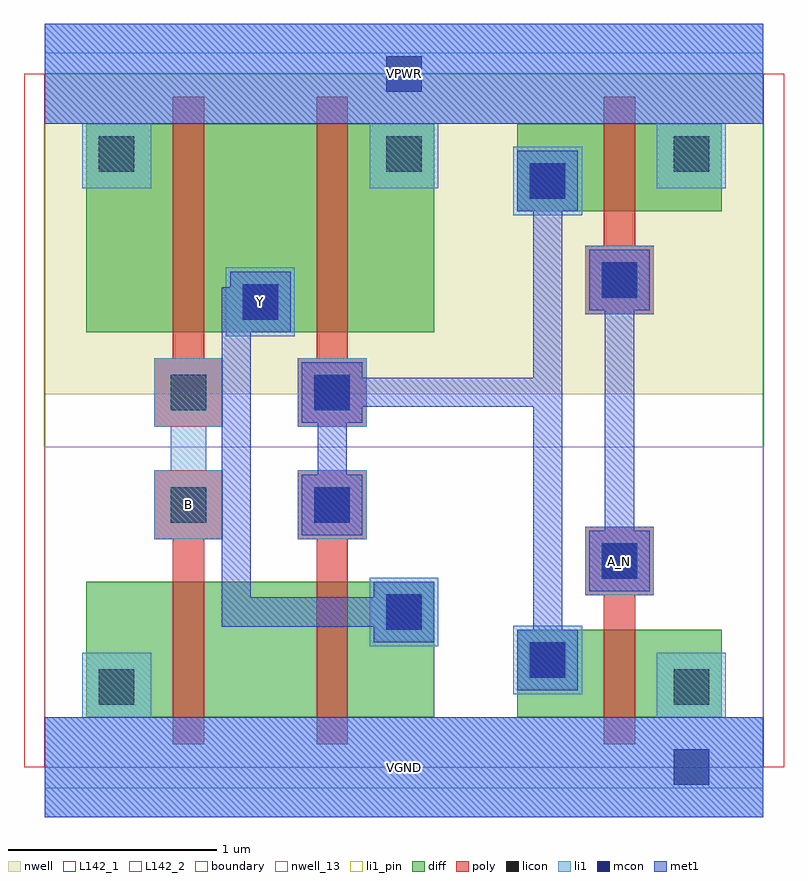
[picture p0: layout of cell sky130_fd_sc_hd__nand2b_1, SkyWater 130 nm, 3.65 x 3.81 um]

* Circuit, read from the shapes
.subckt sky130_fd_sc_hd__nand2b_1 A_N B VGND VPWR Y
XM1 n1 B VGND VSUBS sky130_fd_pr__nfet_01v8 w=0.65 l=0.15
XM2 Y n2 n1 VSUBS sky130_fd_pr__nfet_01v8 w=0.65 l=0.15
XM3 VGND A_N n2 VSUBS sky130_fd_pr__nfet_01v8 w=0.42 l=0.15
XM4 Y B VPWR n3 sky130_fd_pr__pfet_01v8 w=1 l=0.15
XM5 VPWR n2 Y n3 sky130_fd_pr__pfet_01v8 w=1 l=0.15
XM6 VPWR A_N n2 n3 sky130_fd_pr__pfet_01v8 w=0.42 l=0.15
.ends

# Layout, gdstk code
import gdstk
lib = gdstk.Library(unit=1e-6, precision=1e-09)
def R(c, l, rs):  # rectangles x0, y0, x1, y1
    for r in rs: c.add(gdstk.rectangle(r[:2], r[2:], *l))
def A(c, l, x, y, w, h, nx, ny, dx, dy):  # array of equal rectangles
    R(c, l, [(x+i*dx, y+j*dy, x+i*dx+w, y+j*dy+h) for i in range(nx) for j in range(ny)])
def P(c, l, *ps):  # polygons
    for p in ps: c.add(gdstk.Polygon(p, *l))
nwell_13 = (64, 13)
nwell = (64, 20)
diff = (65, 20)
poly = (66, 20)
licon = (66, 44)
li1_pin = (67, 16)
li1 = (67, 20)
mcon = (67, 44)
met1 = (68, 20)
L142_1 = (142, 1)
L142_2 = (142, 2)
boundary = (235, 4)

sky130_fd_sc_hd__nand2b_ = lib.new_cell('sky130_fd_sc_hd__nand2b_1')
R(sky130_fd_sc_hd__nand2b_, nwell_13, [(0,0,3.45,1.54)])
R(sky130_fd_sc_hd__nand2b_, nwell, [(0,1.79,3.45,3.33)])
R(sky130_fd_sc_hd__nand2b_, diff, [(0.2,0.24,1.87,0.89), (0.2,0.24,0.615,0.89), (0.615,0.24,1.305,0.89), (1.305,0.24,1.87,0.89), (2.27,0.24,3.25,0.66), (2.27,0.24,2.685,0.66), (2.685,0.24,3.25,0.66), (0.2,2.09,1.87,3.09), (0.2,2.09,0.615,3.09), (0.615,2.09,1.305,3.09), (1.305,2.09,1.87,3.09), (2.27,2.67,3.25,3.09), (2.27,2.67,2.685,3.09), (2.685,2.67,3.25,3.09)])
P(sky130_fd_sc_hd__nand2b_, poly, [(0.615,0.11),(0.615,1.095),(0.525,1.095),(0.525,1.425),(0.855,1.425),(0.855,1.095),(0.765,1.095),(0.765,0.11)],
  [(0.525,1.635),(0.525,1.965),(0.615,1.965),(0.615,3.22),(0.765,3.22),(0.765,1.965),(0.855,1.965),(0.855,1.635)],
  [(2.685,0.11),(2.685,0.825),(2.595,0.825),(2.595,1.155),(2.925,1.155),(2.925,0.825),(2.835,0.825),(2.835,0.11)],
  [(2.595,2.175),(2.595,2.505),(2.685,2.505),(2.685,3.22),(2.835,3.22),(2.835,2.505),(2.925,2.505),(2.925,2.175)],
  [(1.305,0.11),(1.305,1.095),(1.215,1.095),(1.215,1.425),(1.545,1.425),(1.545,1.095),(1.455,1.095),(1.455,0.11)],
  [(1.215,1.635),(1.215,1.965),(1.305,1.965),(1.305,3.22),(1.455,3.22),(1.455,1.965),(1.545,1.965),(1.545,1.635)])
A(sky130_fd_sc_hd__nand2b_, licon, 0.26, 2.86, 0.17, 0.17, 3, 1, 1.38, 0)
R(sky130_fd_sc_hd__nand2b_, licon, [(0.26,0.3,0.43,0.47), (3.02,0.3,3.19,0.47), (2.33,0.43,2.5,0.6), (1.64,0.66,1.81,0.83), (2.675,0.905,2.845,1.075), (0.605,1.175,0.775,1.345), (1.295,1.175,1.465,1.345), (0.605,1.715,0.775,1.885), (1.295,1.715,1.465,1.885), (0.95,2.15,1.12,2.32), (2.675,2.255,2.845,2.425), (2.33,2.73,2.5,2.9)])
R(sky130_fd_sc_hd__nand2b_, li1_pin, [(0,-0.24,3.45,0.24), (2.595,0.825,2.925,1.155), (0.87,2.07,1.2,2.4), (0,3.09,3.45,3.57)])
P(sky130_fd_sc_hd__nand2b_, li1_pin, [(0.525,1.095),(0.525,1.425),(0.605,1.425),(0.605,1.635),(0.525,1.635),(0.525,1.965),(0.855,1.965),(0.855,1.635),(0.775,1.635),(0.775,1.425),(0.855,1.425),(0.855,1.095)])
R(sky130_fd_sc_hd__nand2b_, li1, [(2.25,0.35,2.58,0.68), (1.56,0.58,1.89,0.91), (2.595,0.825,2.925,1.155), (1.215,1.095,1.545,1.425), (1.215,1.635,1.545,1.965), (0.87,2.07,1.2,2.4), (2.595,2.175,2.925,2.505), (2.25,2.65,2.58,2.98)])
P(sky130_fd_sc_hd__nand2b_, li1, [(0.525,1.095),(0.525,1.425),(0.605,1.425),(0.605,1.635),(0.525,1.635),(0.525,1.965),(0.855,1.965),(0.855,1.635),(0.775,1.635),(0.775,1.425),(0.855,1.425),(0.855,1.095)],
  [(0.18,2.78),(0.18,3.09),(0,3.09),(0,3.57),(3.45,3.57),(3.45,3.09),(3.27,3.09),(3.27,2.78),(2.94,2.78),(2.94,3.09),(1.89,3.09),(1.89,2.78),(1.56,2.78),(1.56,3.09),(0.51,3.09),(0.51,2.78)],
  [(0,-0.24),(0,0.24),(0.18,0.24),(0.18,0.55),(0.51,0.55),(0.51,0.24),(2.94,0.24),(2.94,0.55),(3.27,0.55),(3.27,0.24),(3.45,0.24),(3.45,-0.24)])
R(sky130_fd_sc_hd__nand2b_, mcon, [(3.02,-0.085,3.19,0.085), (2.33,0.43,2.5,0.6), (1.64,0.66,1.81,0.83), (2.675,0.905,2.845,1.075), (1.295,1.175,1.465,1.345), (1.295,1.715,1.465,1.885), (0.95,2.15,1.12,2.32), (2.675,2.255,2.845,2.425), (2.33,2.73,2.5,2.9), (1.64,3.245,1.81,3.415)])
R(sky130_fd_sc_hd__nand2b_, met1, [(0,-0.24,3.45,0.24), (0,3.09,3.45,3.57)])
P(sky130_fd_sc_hd__nand2b_, met1, [(1.58,0.6),(1.58,0.675),(0.85,0.675),(0.85,2.305),(0.89,2.305),(0.89,2.38),(1.18,2.38),(1.18,2.09),(0.99,2.09),(0.99,0.815),(1.58,0.815),(1.58,0.89),(1.87,0.89),(1.87,0.6)],
  [(2.615,0.845),(2.615,1.135),(2.69,1.135),(2.69,2.195),(2.615,2.195),(2.615,2.485),(2.905,2.485),(2.905,2.195),(2.83,2.195),(2.83,1.135),(2.905,1.135),(2.905,0.845)],
  [(2.27,0.37),(2.27,0.66),(2.345,0.66),(2.345,1.73),(1.525,1.73),(1.525,1.655),(1.45,1.655),(1.45,1.405),(1.525,1.405),(1.525,1.115),(1.235,1.115),(1.235,1.405),(1.31,1.405),(1.31,1.655),(1.235,1.655),(1.235,1.945),(1.525,1.945),(1.525,1.87),(2.345,1.87),(2.345,2.67),(2.27,2.67),(2.27,2.96),(2.56,2.96),(2.56,2.67),(2.485,2.67),(2.485,0.66),(2.56,0.66),(2.56,0.37)])
R(sky130_fd_sc_hd__nand2b_, L142_1, [(0,-0.1,3.45,0), (0,3.33,3.45,3.43)])
R(sky130_fd_sc_hd__nand2b_, L142_2, [(-0.1,0,0,3.33), (3.45,0,3.55,3.33)])
R(sky130_fd_sc_hd__nand2b_, boundary, [(0,0,3.45,3.33)])
sky130_fd_sc_hd__nand2b_.add(gdstk.Label('Y', (1.035,2.235), layer=67, texttype=5))
sky130_fd_sc_hd__nand2b_.add(gdstk.Label('A_N', (2.76,0.99), layer=67, texttype=5))
sky130_fd_sc_hd__nand2b_.add(gdstk.Label('B', (0.69,1.26), layer=67, texttype=5))
sky130_fd_sc_hd__nand2b_.add(gdstk.Label('VGND', (1.725,0), layer=67, texttype=5))
sky130_fd_sc_hd__nand2b_.add(gdstk.Label('VPWR', (1.725,3.33), layer=67, texttype=5))
sky130_fd_sc_hd__nand2b_.add(gdstk.Label('VGND', (1.725,0), layer=68, texttype=5))
sky130_fd_sc_hd__nand2b_.add(gdstk.Label('VPWR', (1.725,3.33), layer=68, texttype=5))

lib.write_gds('sky130_fd_sc_hd__nand2b_1.gds')
